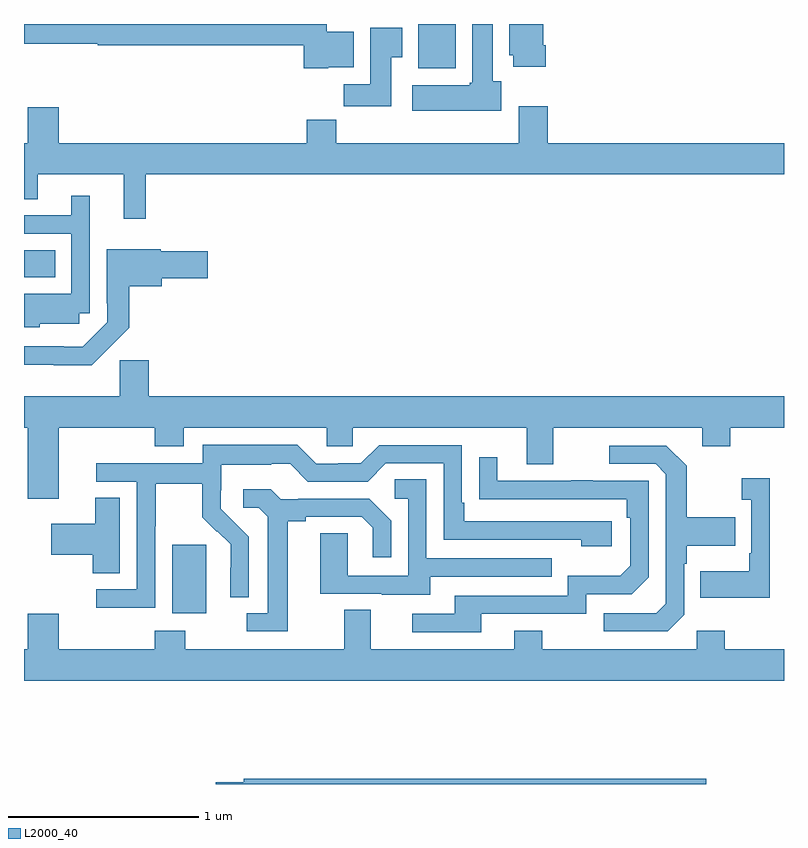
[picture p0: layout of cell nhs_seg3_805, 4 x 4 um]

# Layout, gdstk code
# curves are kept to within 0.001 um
import gdstk
lib = gdstk.Library(unit=1e-6, precision=1e-09)
def R(c, l, rs):  # rectangles x0, y0, x1, y1
    for r in rs: c.add(gdstk.rectangle(r[:2], r[2:], *l))
def P(c, l, *ps):  # polygons
    for p in ps: c.add(gdstk.Polygon(p, *l))
L2000_40 = (2000, 40)

nhs_seg3_805 = lib.new_cell('nhs_seg3_805')
R(nhs_seg3_805, L2000_40, [(153.779,673.298,153.958,673.659), (153,675.068,153.164,675.208), (155.075,676.166,155.272,676.4)])
P(nhs_seg3_805, L2000_40, [(155.747,676.288),(155.734,676.288),(155.734,676.4),(155.555,676.4),(155.555,676.236),(155.576,676.236),(155.576,676.176),(155.747,676.176)],
  [(155.512,676.098),(155.467,676.098),(155.467,676.4),(155.36,676.4),(155.36,676.092),(155.347,676.092),(155.347,676.078),(155.043,676.078),(155.043,675.944),(155.512,675.944)],
  [(154.602,676.172),(154.735,676.172),(154.735,676.36),(154.594,676.36),(154.594,676.4),(153,676.4),(153,676.296),(153.388,676.296),(153.388,676.288),(154.472,676.288),(154.472,676.166),(154.602,676.166)],
  [(154.933,676.225),(154.99,676.225),(154.99,676.381),(154.823,676.381),(154.823,676.084),(154.684,676.084),(154.684,675.966),(154.933,675.966)],
  [(153.02,675.961),(153.02,675.772),(153,675.772),(153,675.478),(153.073,675.478),(153.073,675.608),(153.524,675.608),(153.524,675.375),(153.641,675.375),(153.641,675.608),(157,675.608),(157,675.772),(155.756,675.772),(155.756,675.967),(155.603,675.967),(155.603,675.772),(154.643,675.772),(154.643,675.896),(154.487,675.896),(154.487,675.772),(153.184,675.772),(153.184,675.961)],
  [(153.084,674.822),(153.291,674.822),(153.291,674.877),(153.345,674.877),(153.345,675.496),(153.248,675.496),(153.248,675.393),(153,675.393),(153,675.297),(153.249,675.297),(153.249,674.98),(153,674.98),(153,674.804),(153.084,674.804)],
  [(153.554,674.801),(153.554,675.02),(153.724,675.02),(153.724,675.062),(153.967,675.062),(153.967,675.204),(153.72,675.204),(153.72,675.214),(153.435,675.214),(153.435,674.929),(153.438,674.929),(153.438,674.829),(153.31,674.701),(153.209,674.701),(153.209,674.703),(153,674.703),(153,674.606),(153.157,674.606),(153.157,674.604),(153.356,674.604)],
  [(153.184,674.276),(153.689,674.276),(153.689,674.177),(153.841,674.177),(153.841,674.276),(154.593,674.276),(154.593,674.178),(154.731,674.178),(154.731,674.276),(155.645,674.276),(155.645,674.082),(155.785,674.082),(155.785,674.276),(156.569,674.276),(156.569,674.177),(156.717,674.177),(156.717,674.276),(157,674.276),(157,674.44),(153.656,674.44),(153.656,674.631),(153.505,674.631),(153.505,674.44),(153,674.44),(153,674.276),(153.02,674.276),(153.02,673.902),(153.184,673.902)],
  [(153.69,673.756),(153.693,673.756),(153.693,673.98),(153.937,673.98),(153.937,673.805),(154.014,673.728),(154.017,673.731),(154.088,673.661),(154.088,673.538),(154.086,673.538),(154.086,673.384),(154.182,673.384),(154.182,673.702),(154.036,673.85),(154.036,673.947),(154.038,673.947),(154.038,674.081),(154.301,674.081),(154.301,674.085),(154.401,674.085),(154.494,673.992),(154.809,673.992),(154.905,674.088),(155.208,674.088),(155.208,673.686),(155.933,673.686),(155.933,673.652),(156.094,673.652),(156.094,673.782),(155.317,673.782),(155.317,673.879),(155.304,673.879),(155.304,674.184),(154.869,674.184),(154.773,674.088),(154.655,674.088),(154.655,674.085),(154.539,674.085),(154.439,674.185),(153.942,674.185),(153.942,674.088),(153.381,674.088),(153.381,673.992),(153.594,673.992),(153.594,673.425),(153.381,673.425),(153.381,673.327),(153.69,673.327)],
  [(156.474,673.29),(156.474,673.559),(156.487,673.559),(156.487,673.655),(156.743,673.655),(156.743,673.803),(156.487,673.803),(156.487,674.075),(156.381,674.181),(156.081,674.181),(156.081,674.085),(156.324,674.085),(156.378,674.031),(156.378,673.35),(156.327,673.299),(156.051,673.299),(156.051,673.203),(156.387,673.203)],
  [(155.407,673.296),(155.958,673.296),(155.958,673.398),(156.198,673.398),(156.288,673.488),(156.288,673.995),(155.993,673.995),(155.993,674),(155.881,674),(155.881,673.995),(155.491,673.995),(155.491,674.119),(155.395,674.119),(155.395,673.9),(156.172,673.899),(156.172,673.802),(156.192,673.802),(156.192,673.548),(156.139,673.495),(155.862,673.495),(155.862,673.392),(155.267,673.392),(155.267,673.296),(155.043,673.296),(155.043,673.2),(155.407,673.2)],
  [(156.924,673.783),(156.925,673.783),(156.925,674.008),(156.777,674.008),(156.777,673.895),(156.828,673.895),(156.828,673.615),(156.816,673.615),(156.816,673.519),(156.559,673.519),(156.559,673.379),(156.924,673.379)],
  [(155.137,673.491),(155.777,673.491),(155.777,673.587),(155.118,673.587),(155.118,674.003),(154.95,674.003),(154.95,673.902),(155.022,673.902),(155.022,673.497),(154.704,673.497),(154.704,673.721),(154.559,673.721),(154.559,673.401),(154.883,673.401),(154.883,673.397),(155.137,673.397)],
  [(154.387,673.784),(154.483,673.784),(154.483,673.806),(154.778,673.806),(154.835,673.749),(154.835,673.593),(154.932,673.593),(154.932,673.786),(154.816,673.902),(154.444,673.902),(154.444,673.899),(154.35,673.899),(154.298,673.951),(154.155,673.951),(154.155,673.854),(154.236,673.854),(154.283,673.807),(154.283,673.299),(154.173,673.299),(154.173,673.203),(154.387,673.203)],
  [(153.505,673.907),(153.374,673.907),(153.374,673.771),(153.144,673.771),(153.144,673.606),(153.362,673.606),(153.362,673.51),(153.505,673.51)],
  [(157,673.108),(156.687,673.108),(156.687,673.207),(156.54,673.207),(156.54,673.108),(155.727,673.108),(155.727,673.207),(155.579,673.207),(155.579,673.108),(154.825,673.108),(154.825,673.316),(154.685,673.316),(154.685,673.108),(153.849,673.108),(153.849,673.207),(153.689,673.207),(153.689,673.108),(153.184,673.108),(153.184,673.297),(153.02,673.297),(153.02,673.108),(153,673.108),(153,672.944),(157,672.944)],
  [(156.592,672.428),(154.156,672.428),(154.156,672.408),(154.01,672.408),(154.01,672.4),(156.592,672.4)])

lib.write_gds('nhs_seg3_805.gds')
